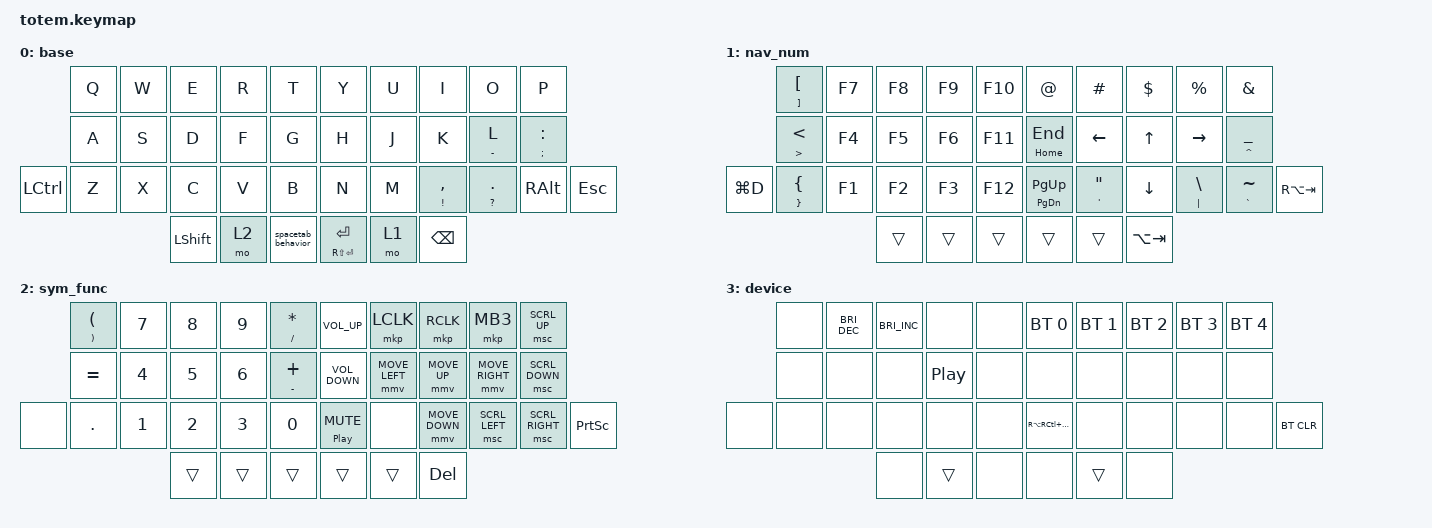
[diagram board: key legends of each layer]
//
//                                                        ▀▀▀▀▀     ▀▀▀▀▀          ▀▀█▀▀
//                                                        ▄▀▀▀▄  ▄  ▄▀▀▀▄  ▄  ▄▀▀▀▄  █  ▄▀▀▀▄
//                                                        █   █  █  █   █  █  █   █  █  █   █
//                                                         ▀▀▀   █   ▀▀▀   █   ▀▀▀   ▀   ▀▀▀
//                                                               █      ▄▄▄█▄▄▄    █   █  
//                                                               ▀      █  █  █     █▄█
//                                                             ▀▀▀▀▀    █  █  █      ▀
//                                                                      ▀  ▀  ▀
//
// ▄▄▄▄▄▄▄▄▄▄▄▄▄▄▄▄▄▄▄▄▄▄▄▄▄▄▄▄▄▄▄▄▄▄▄▄▄▄▄▄▄▄▄▄▄▄▄▄▄▄▄▄▄▄▄▄▄▄▄▄▄▄▄▄▄▄▄▄▄▄▄▄▄▄▄▄▄▄▄▄▄▄▄▄▄▄▄▄▄▄▄▄▄▄▄▄▄▄▄▄▄▄▄▄▄▄▄▄▄▄▄▄▄▄▄▄▄▄▄▄▄▄▄▄▄▄▄▄▄▄▄▄▄▄▄▄▄▄▄▄▄▄▄▄▄▄▄▄▄

#include <behaviors.dtsi>
#include <dt-bindings/zmk/bt.h>
#include <dt-bindings/zmk/keys.h>
#include <dt-bindings/zmk/pointing.h>

/ {
    behaviors {
        spacetab_behavior: spacetab_behavior {
            compatible = "zmk,behavior-tap-dance";
            label = "SPACETAB_BEHAVIOR";
            #binding-cells = <0>;
            bindings = <&kp SPACE>, <&kp TAB>;
        };
    };

    keymap {
        compatible = "zmk,keymap";

        base {
            bindings = <
                  &kp Q  &kp W  &kp E           &kp R  &kp T                 &kp Y                &kp U  &kp I           &kp O                &kp P
                  &kp A  &kp S  &kp D           &kp F  &kp G                 &kp H                &kp J  &kp K           &mt MINUS L          &mt SEMI COLON
&kp LEFT_CONTROL  &kp Z  &kp X  &kp C           &kp V  &kp B                 &kp N                &kp M  &mt EXCL COMMA  &mt QUESTION PERIOD  &kp RIGHT_ALT   &kp ESC
                                &kp LEFT_SHIFT  &mo 2  &spacetab_behavior    &mt RS(ENTER) ENTER  &mo 1  &kp BACKSPACE
            >;
        };

        nav_num {
            bindings = <
           &mt RBKT LEFT_BRACKET       &kp F7  &kp F8  &kp F9  &kp F10    &kp AT_SIGN            &kp HASH                        &kp DOLLAR      &kp PERCENT         &kp AMPERSAND
           &mt GREATER_THAN LESS_THAN  &kp F4  &kp F5  &kp F6  &kp F11    &mt HOME END           &kp LEFT_ARROW                  &kp UP_ARROW    &kp RIGHT_ARROW     &mt CARET UNDERSCORE
&kp LG(D)  &mt RIGHT_BRACE LEFT_BRACE  &kp F1  &kp F2  &kp F3  &kp F12    &mt PAGE_DOWN PAGE_UP  &mt SINGLE_QUOTE DOUBLE_QUOTES  &kp DOWN_ARROW  &mt PIPE BACKSLASH  &mt GRAVE TILDE       &kp RA(TAB)
                                               &trans  &trans  &trans     &trans                 &trans                          &kp LA(TAB)
            >;
        };

        sym_func {
            bindings = <
       &mt RIGHT_PARENTHESIS LEFT_PARENTHESIS  &kp NUMBER_7  &kp NUMBER_8  &kp NUMBER_9  &mt SLASH STAR    &kp C_VOLUME_UP    &mkp LCLK       &mkp RCLK       &mkp MB3         &msc SCRL_UP
       &kp EQUAL                               &kp NUMBER_4  &kp NUMBER_5  &kp NUMBER_6  &mt MINUS PLUS    &kp C_VOLUME_DOWN  &mmv MOVE_LEFT  &mmv MOVE_UP    &mmv MOVE_RIGHT  &msc SCRL_DOWN
&none  &kp DOT                                 &kp NUMBER_1  &kp NUMBER_2  &kp NUMBER_3  &kp NUMBER_0      &mt C_PP K_MUTE    &none           &mmv MOVE_DOWN  &msc SCRL_LEFT   &msc SCRL_RIGHT  &kp PRINTSCREEN
                                                             &trans        &trans        &trans            &trans             &trans          &kp DELETE
            >;
        };

        device {
            bindings = <
       &none  &kp C_BRIGHTNESS_DEC  &kp C_BRIGHTNESS_INC  &none             &none    &bt BT_SEL 0     &bt BT_SEL 1  &bt BT_SEL 2  &bt BT_SEL 3  &bt BT_SEL 4
       &none  &none                 &none                 &kp C_PLAY_PAUSE  &none    &none            &none         &none         &none         &none
&none  &none  &none                 &none                 &none             &none    &kp RA(RC(DEL))  &none         &none         &none         &none         &bt BT_CLR
                                    &none                 &trans            &none    &none            &trans        &none
            >;
        };
    };

    conditional_layers {
        compatible = "zmk,conditional-layers";

        device {
            if-layers = <1 2>;
            then-layer = <3>;
        };
    };
};
